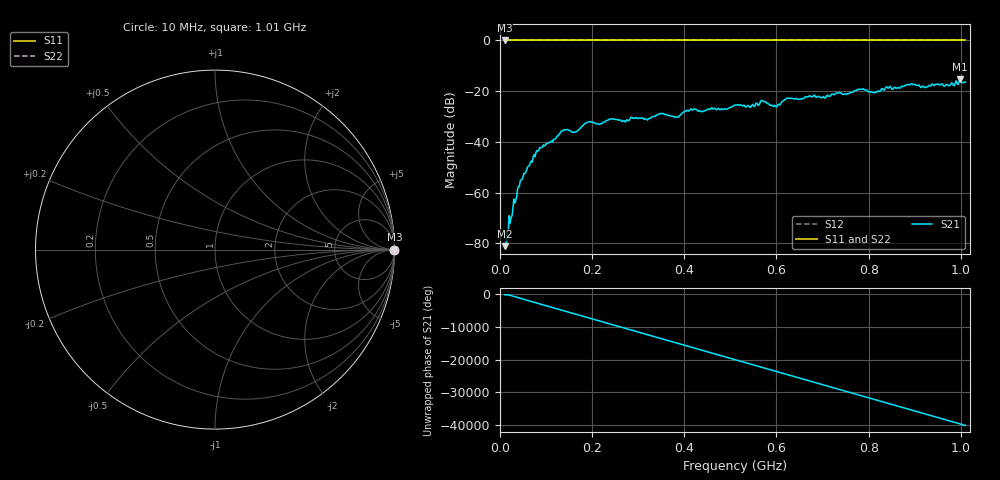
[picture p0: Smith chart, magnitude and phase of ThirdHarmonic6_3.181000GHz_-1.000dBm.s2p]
! 8/17/2025 9:36:26 AM
! C:\ANRITSUVNA\TEMP\TEMP.S2P
! CHANNEL.1
! TR.MEASUREMENT
! RAW.DATA
! RF.CORRECTION.OFF
! AVERAGING.OFF
! IF.BANDWIDTH: 5KHZ
! SWEEPTYPE:  FREQ.SWEEP(Linear)
! Reference Plane Port Info
! PORT:  PORT1  PORT2
! DISTANCE:  0  m  0  m
! TIME:  0  s  0  s
! PHASE.OFFSET:  0  deg.  0  deg.
! LOSS:  0  dB  0  dB
! REF.LOSS:  0  dB  0  dB
! REF.FREQ:  0  Hz  0  Hz
! Power Info
! POWER:  -20  dBm  -20  dBm
! EFF.POWER:  -20  dBm  -20  dBm
! SOURCE.ATTEN:  0  dB  0  dB
! TEST.ATTEN:  0  dB  0  dB
# GHZ S RI R 50.0
! FREQ.GHZ  S11RE  S11IM  S21RE  S21IM  S12RE  S12IM  S22RE  S22IM
!; PortSelection: Port_12
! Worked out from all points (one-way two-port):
!   501 points, 10 MHz to 1.01 GHz, reference 50 ohm
!   highest |S21| = -15.39 dB at 998 MHz (marker M1); lowest = -81.1 dB at 10 MHz (marker M2)
!   lowest |S11| = 0.0 dB at 10 MHz (marker M3)
!   |S11| at or under -10 dB: nowhere
!   |S22| runs from 0.0 to 0.0 dB; largest |S21 - S12| = 1.1
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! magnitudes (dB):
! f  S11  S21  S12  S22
! 10 MHz  0.0  -81.1  0.0  0.0
! 42 MHz  0.0  -57.5  0.0  0.0
! 76 MHz  0.0  -45.8  0.0  0.0
! 136 MHz  0.0  -35.6  0.0  0.0
! 162 MHz  0.0  -36.1  0.0  0.0
! 178 MHz  0.0  -33.8  0.0  0.0
! 192 MHz  0.0  -32.1  0.0  0.0
! 322 MHz  0.0  -31.0  0.0  0.0
! 344 MHz  0.0  -29.2  0.0  0.0
! 384 MHz  0.0  -30.1  0.0  0.0
! 416 MHz  0.0  -27.4  0.0  0.0
! 510 MHz  0.0  -25.5  0.0  0.0
! 548 MHz  0.0  -25.2  0.0  0.0
! 570 MHz  0.0  -23.8  0.0  0.0
! 596 MHz  0.0  -25.6  0.0  0.0
! 624 MHz  0.0  -22.8  0.0  0.0
! 678 MHz  0.0  -22.2  0.0  0.0
! 784 MHz  0.0  -19.3  0.0  0.0
! 814 MHz  0.0  -20.5  0.0  0.0
! 844 MHz  0.0  -18.7  0.0  0.0
! 998 MHz  0.0  -15.4  0.0  0.0
! 1.01 GHz  0.0  -16.4  0.0  0.0
